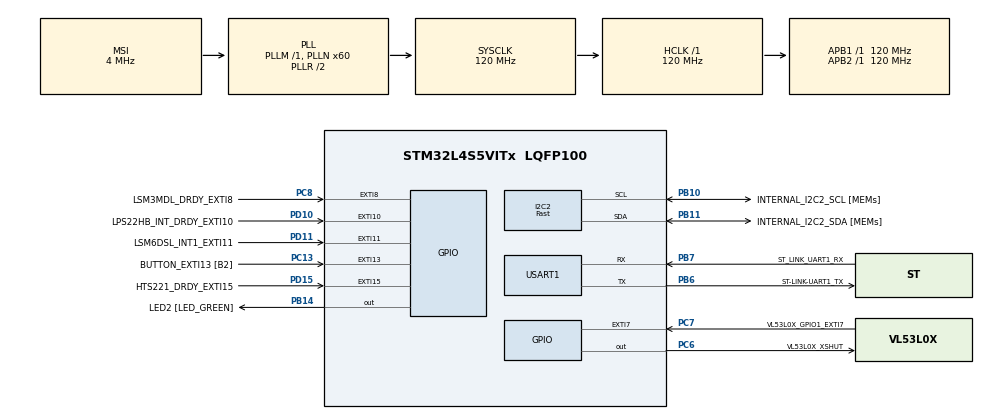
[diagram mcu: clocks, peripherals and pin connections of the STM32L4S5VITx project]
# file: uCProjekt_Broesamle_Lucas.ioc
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Dma.I2C2_RX.0.Direction=DMA_PERIPH_TO_MEMORY
Dma.I2C2_RX.0.EventEnable=DISABLE
Dma.I2C2_RX.0.Instance=DMA1_Channel1
Dma.I2C2_RX.0.MemDataAlignment=DMA_MDATAALIGN_BYTE
Dma.I2C2_RX.0.MemInc=DMA_MINC_ENABLE
Dma.I2C2_RX.0.Mode=DMA_NORMAL
Dma.I2C2_RX.0.PeriphDataAlignment=DMA_PDATAALIGN_BYTE
Dma.I2C2_RX.0.PeriphInc=DMA_PINC_DISABLE
Dma.I2C2_RX.0.Polarity=HAL_DMAMUX_REQUEST_GEN_RISING
Dma.I2C2_RX.0.Priority=DMA_PRIORITY_LOW
Dma.I2C2_RX.0.RequestNumber=1
Dma.I2C2_RX.0.SignalID=NONE
Dma.I2C2_RX.0.SyncEnable=DISABLE
Dma.I2C2_RX.0.SyncPolarity=HAL_DMAMUX_SYNC_NO_EVENT
Dma.I2C2_RX.0.SyncRequestNumber=1
Dma.I2C2_RX.0.SyncSignalID=NONE
Dma.I2C2_TX.1.Direction=DMA_MEMORY_TO_PERIPH
Dma.I2C2_TX.1.EventEnable=DISABLE
Dma.I2C2_TX.1.Instance=DMA1_Channel2
Dma.I2C2_TX.1.MemDataAlignment=DMA_MDATAALIGN_BYTE
Dma.I2C2_TX.1.MemInc=DMA_MINC_ENABLE
Dma.I2C2_TX.1.Mode=DMA_NORMAL
Dma.I2C2_TX.1.PeriphDataAlignment=DMA_PDATAALIGN_BYTE
Dma.I2C2_TX.1.PeriphInc=DMA_PINC_DISABLE
Dma.I2C2_TX.1.Polarity=HAL_DMAMUX_REQUEST_GEN_RISING
Dma.I2C2_TX.1.Priority=DMA_PRIORITY_LOW
Dma.I2C2_TX.1.RequestNumber=1
Dma.I2C2_TX.1.SignalID=NONE
Dma.I2C2_TX.1.SyncEnable=DISABLE
Dma.I2C2_TX.1.SyncPolarity=HAL_DMAMUX_SYNC_NO_EVENT
Dma.I2C2_TX.1.SyncRequestNumber=1
Dma.I2C2_TX.1.SyncSignalID=NONE
Dma.Request0=I2C2_RX
Dma.Request1=I2C2_TX
Dma.Request2=USART1_RX
Dma.Request3=USART1_TX
Dma.USART1_RX.2.Direction=DMA_PERIPH_TO_MEMORY
Dma.USART1_RX.2.EventEnable=DISABLE
Dma.USART1_RX.2.Instance=DMA1_Channel3
Dma.USART1_RX.2.MemDataAlignment=DMA_MDATAALIGN_BYTE
Dma.USART1_RX.2.MemInc=DMA_MINC_ENABLE
Dma.USART1_RX.2.Mode=DMA_NORMAL
Dma.USART1_RX.2.PeriphDataAlignment=DMA_PDATAALIGN_BYTE
Dma.USART1_RX.2.PeriphInc=DMA_PINC_DISABLE
Dma.USART1_RX.2.Polarity=HAL_DMAMUX_REQUEST_GEN_RISING
Dma.USART1_RX.2.Priority=DMA_PRIORITY_LOW
Dma.USART1_RX.2.RequestNumber=1
Dma.USART1_RX.2.SignalID=NONE
Dma.USART1_RX.2.SyncEnable=DISABLE
Dma.USART1_RX.2.SyncPolarity=HAL_DMAMUX_SYNC_NO_EVENT
Dma.USART1_RX.2.SyncRequestNumber=1
Dma.USART1_RX.2.SyncSignalID=NONE
Dma.USART1_TX.3.Direction=DMA_MEMORY_TO_PERIPH
Dma.USART1_TX.3.EventEnable=DISABLE
Dma.USART1_TX.3.Instance=DMA1_Channel4
Dma.USART1_TX.3.MemDataAlignment=DMA_MDATAALIGN_BYTE
Dma.USART1_TX.3.MemInc=DMA_MINC_ENABLE
Dma.USART1_TX.3.Mode=DMA_NORMAL
Dma.USART1_TX.3.PeriphDataAlignment=DMA_PDATAALIGN_BYTE
Dma.USART1_TX.3.PeriphInc=DMA_PINC_DISABLE
Dma.USART1_TX.3.Polarity=HAL_DMAMUX_REQUEST_GEN_RISING
Dma.USART1_TX.3.Priority=DMA_PRIORITY_LOW
Dma.USART1_TX.3.RequestNumber=1
Dma.USART1_TX.3.SignalID=NONE
Dma.USART1_TX.3.SyncEnable=DISABLE
Dma.USART1_TX.3.SyncPolarity=HAL_DMAMUX_SYNC_NO_EVENT
Dma.USART1_TX.3.SyncRequestNumber=1
Dma.USART1_TX.3.SyncSignalID=NONE
FREERTOS.BinarySemaphores01=I2C2available,Dynamic,NULL,Available;UART1available,Dynamic,NULL,Available
FREERTOS.Tasks01=defaultTask,24,128,StartDefaultTask,Default,NULL,Dynamic,NULL,NULL;IMUTask,33,256,IMU_Task,Default,NULL,Dynamic,NULL,NULL;MagnetoTask,34,256,Magneto_Task,Default,NULL,Dynamic,NULL,NULL;ToFTask,26,256,ToF_Task,Default,NULL,Dynamic,NULL,NULL;BaroTask,17,256,Baro_Task,Default,NULL,Dynamic,NULL,NULL;HumidityTask,17,256,Humidity_Task,Default,NULL,Dynamic,NULL,NULL;InitTask,40,512,Init_Task,Default,NULL,Dynamic,NULL,NULL;DataTransmitTas,9,256,Data_Transmit_Task,Default,NULL,Dynamic,NULL,NULL;DataFilterTask,10,256,Data_Filter_Task,Default,NULL,Dynamic,NULL,NULL
FREERTOS.configENABLE_FPU=1
FREERTOS.configGENERATE_RUN_TIME_STATS=1
FREERTOS.configTOTAL_HEAP_SIZE=30000
FREERTOS.configUSE_NEWLIB_REENTRANT=1
FREERTOS.configUSE_STATS_FORMATTING_FUNCTIONS=1
I2C2.I2C_Speed_Mode=I2C_Fast
I2C2.Timing=0x10B21F61
Mcu.Family=STM32L4
Mcu.Name=STM32L4S5VITx
Mcu.Package=LQFP100
NVIC.DMA1_Channel1_IRQn=true\:7\:0\:true\:false\:true\:true\:false\:true\:true
NVIC.DMA1_Channel2_IRQn=true\:8\:0\:true\:false\:true\:true\:false\:true\:true
NVIC.DMA1_Channel3_IRQn=true\:11\:0\:true\:false\:true\:true\:false\:true\:true
NVIC.DMA1_Channel4_IRQn=true\:11\:0\:true\:false\:true\:true\:false\:true\:true
NVIC.EXTI15_10_IRQn=true\:10\:0\:true\:false\:true\:true\:true\:true\:false
NVIC.EXTI9_5_IRQn=true\:10\:0\:true\:false\:true\:true\:true\:true\:false
NVIC.I2C2_EV_IRQn=true\:6\:0\:true\:false\:true\:true\:true\:true\:true
NVIC.PriorityGroup=NVIC_PRIORITYGROUP_4
NVIC.TIM1_TRG_COM_TIM17_IRQn=true\:15\:0\:false\:false\:true\:false\:false\:true\:true
NVIC.TimeBase=TIM1_TRG_COM_TIM17_IRQn
NVIC.TimeBaseIP=TIM17
NVIC.USART1_IRQn=true\:6\:0\:true\:false\:true\:true\:true\:true\:true
PA13\ (JTMS/SWDIO).GPIO_Label=SYS_JTMS_SWDIO
PA13\ (JTMS/SWDIO).Mode=Serial_Wire
PA13\ (JTMS/SWDIO).Signal=SYS_JTMS-SWDIO
PA14\ (JTCK/SWCLK).GPIO_Label=SYS_JTCK_SWCLK
PA14\ (JTCK/SWCLK).Mode=Serial_Wire
PA14\ (JTCK/SWCLK).Signal=SYS_JTCK-SWCLK
PB10.GPIO_Label=INTERNAL_I2C2_SCL [MEMs]
PB10.GPIO_Mode=GPIO_MODE_AF_OD
PB10.GPIO_Pu=GPIO_PULLUP
PB10.GPIO_Speed=GPIO_SPEED_FREQ_VERY_HIGH
PB10.Mode=I2C
PB10.Signal=I2C2_SCL
PB11.GPIO_Label=INTERNAL_I2C2_SDA [MEMs]
PB11.GPIO_Mode=GPIO_MODE_AF_OD
PB11.GPIO_Pu=GPIO_PULLUP
PB11.GPIO_Speed=GPIO_SPEED_FREQ_VERY_HIGH
PB11.Mode=I2C
PB11.Signal=I2C2_SDA
PB14.GPIO_Label=LED2 [LED_GREEN]
PB14.GPIO_ModeDefaultOutputPP=GPIO_MODE_OUTPUT_PP
PB14.GPIO_PuPd=GPIO_NOPULL
PB14.GPIO_Speed=GPIO_SPEED_FREQ_LOW
PB14.PinState=GPIO_PIN_RESET
PB14.Signal=GPIO_Output
PB3\ (JTDO/TRACESWO).GPIO_Label=SYS_JTD0_SWO
PB3\ (JTDO/TRACESWO).Signal=SYS_JTDO-SWO
PB6.GPIO_FM6=__NULL
PB6.GPIO_Label=ST-LINK-UART1_TX
PB6.GPIO_ModeDefaultPP=GPIO_MODE_AF_PP
PB6.GPIO_PuPd=GPIO_NOPULL
PB6.GPIO_Speed=GPIO_SPEED_FREQ_VERY_HIGH
PB6.Mode=Asynchronous
PB6.Signal=USART1_TX
PB7.GPIO_FM7=__NULL
PB7.GPIO_Label=ST_LINK_UART1_RX
PB7.GPIO_ModeDefaultPP=GPIO_MODE_AF_PP
PB7.GPIO_PuPd=GPIO_NOPULL
PB7.GPIO_Speed=GPIO_SPEED_FREQ_VERY_HIGH
PB7.Mode=Asynchronous
PB7.Signal=USART1_RX
PC13.GPIO_Label=BUTTON_EXTI13 [B2]
PC13.GPIO_ModeDefaultEXTI=GPIO_MODE_IT_RISING
PC13.GPIO_PuPd=GPIO_NOPULL
PC13.Signal=GPXTI13
PC14-OSC32_IN\ (PC14).Mode=LSE-External-Oscillator
PC14-OSC32_IN\ (PC14).Signal=RCC_OSC32_IN
PC15-OSC32_OUT\ (PC15).Mode=LSE-External-Oscillator
PC15-OSC32_OUT\ (PC15).Signal=RCC_OSC32_OUT
PC6.GPIO_Label=VL53L0X_XSHUT
PC6.GPIO_ModeDefaultOutputPP=GPIO_MODE_OUTPUT_PP
PC6.GPIO_PuPd=GPIO_NOPULL
PC6.GPIO_Speed=GPIO_SPEED_FREQ_LOW
PC6.PinState=GPIO_PIN_RESET
PC6.Signal=GPIO_Output
PC7.GPIO_Label=VL53L0X_GPIO1_EXTI7
PC7.GPIO_ModeDefaultEXTI=GPIO_MODE_IT_FALLING
PC7.GPIO_PuPd=GPIO_NOPULL
PC7.Signal=GPXTI7
PC8.GPIO_Label=LSM3MDL_DRDY_EXTI8
PC8.GPIO_ModeDefaultEXTI=GPIO_MODE_IT_RISING
PC8.GPIO_PuPd=GPIO_NOPULL
PC8.Signal=GPXTI8
PD10.GPIO_Label=LPS22HB_INT_DRDY_EXTI10
PD10.GPIO_ModeDefaultEXTI=GPIO_MODE_IT_RISING
PD10.GPIO_PuPd=GPIO_NOPULL
PD10.Signal=GPXTI10
PD11.GPIO_Label=LSM6DSL_INT1_EXTI11
PD11.GPIO_ModeDefaultEXTI=GPIO_MODE_IT_RISING
PD11.GPIO_PuPd=GPIO_NOPULL
PD11.Signal=GPXTI11
PD15.GPIO_Label=HTS221_DRDY_EXTI15
PD15.GPIO_ModeDefaultEXTI=GPIO_MODE_IT_RISING
PD15.GPIO_PuPd=GPIO_NOPULL
PD15.Signal=GPXTI15
PH0-OSC_IN\ (PH0).Mode=HSE-External-Oscillator
PH0-OSC_IN\ (PH0).Signal=RCC_OSC_IN
PH1-OSC_OUT\ (PH1).Mode=HSE-External-Oscillator
PH1-OSC_OUT\ (PH1).Signal=RCC_OSC_OUT
ProjectManager.HeapSize=0x200
ProjectManager.StackSize=0x400
ProjectManager.TargetToolchain=STM32CubeIDE
RCC.ADCFreq_Value=48000000
RCC.AHBFreq_Value=120000000
RCC.APB1Freq_Value=120000000
RCC.APB1TimFreq_Value=120000000
RCC.APB2Freq_Value=120000000
RCC.APB2TimFreq_Value=120000000
RCC.CortexFreq_Value=120000000
RCC.HCLKFreq_Value=120000000
RCC.HSE_VALUE=8000000
RCC.HSI48_VALUE=48000000
RCC.HSI_VALUE=16000000
RCC.MSI_VALUE=4000000
RCC.PLLN=60
RCC.PLLSAI1N=24
RCC.SYSCLKFreq_VALUE=120000000
RCC.SYSCLKSource=RCC_SYSCLKSOURCE_PLLCLK
RCC.USBFreq_Value=48000000
RCC.VCOOutputFreq_Value=240000000
USART1.VirtualMode-Asynchronous=VM_ASYNC
VP_FREERTOS_VS_CMSIS_V2.Mode=CMSIS_V2
VP_SYS_VS_tim17.Mode=TIM17
board=B-L4S5I-IOT01A

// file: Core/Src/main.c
/* USER CODE BEGIN Header */
/**
 ******************************************************************************
 * @file           : main.c
 * @brief          : Main program body
 ******************************************************************************
 * @attention
 *
 * Copyright (c) 2023 STMicroelectronics.
 * All rights reserved.
 *
 * This software is licensed under terms that can be found in the LICENSE file
 * in the root directory of this software component.
 * If no LICENSE file comes with this software, it is provided AS-IS.
 *
 ******************************************************************************
 */
/* USER CODE END Header */
#include "main.h"
#include "cmsis_os.h"

/* USER CODE BEGIN Includes */
#include <stdbool.h>
#include <stdio.h>
#include <string.h>
#include <math.h>

#include "../Sensors/AccelerationSensor/lsm6dsl.h"
#include "../Sensors/AirPressureSensor/lps22hb.h"
#include "../Sensors/HumiditySensor/hts221.h"
#include "../Sensors/MagnetometerSensor/lis3mdl.h"
#include "../Sensors/ToFSensor/vl53l0x.h"
#include "../Filter/filter.h"

/* USER CODE END Includes */

I2C_HandleTypeDef hi2c2;
DMA_HandleTypeDef hdma_i2c2_rx;
DMA_HandleTypeDef hdma_i2c2_tx;

UART_HandleTypeDef huart1;
DMA_HandleTypeDef hdma_usart1_rx;
DMA_HandleTypeDef hdma_usart1_tx;

/* Definitions for defaultTask */
osThreadId_t defaultTaskHandle;
const osThreadAttr_t defaultTask_attributes = {
  .name = "defaultTask",
  .stack_size = 128 * 4,
  .priority = (osPriority_t) osPriorityNormal,
};
/* Definitions for IMUTask */
osThreadId_t IMUTaskHandle;
const osThreadAttr_t IMUTask_attributes = {
  .name = "IMUTask",
  .stack_size = 256 * 4,
  .priority = (osPriority_t) osPriorityAboveNormal1,
};
/* Definitions for MagnetoTask */
osThreadId_t MagnetoTaskHandle;
const osThreadAttr_t MagnetoTask_attributes = {
  .name = "MagnetoTask",
  .stack_size = 256 * 4,
  .priority = (osPriority_t) osPriorityAboveNormal2,
};
/* Definitions for ToFTask */
osThreadId_t ToFTaskHandle;
const osThreadAttr_t ToFTask_attributes = {
  .name = "ToFTask",
  .stack_size = 256 * 4,
  .priority = (osPriority_t) osPriorityNormal2,
};
/* Definitions for BaroTask */
osThreadId_t BaroTaskHandle;
const osThreadAttr_t BaroTask_attributes = {
  .name = "BaroTask",
  .stack_size = 256 * 4,
  .priority = (osPriority_t) osPriorityBelowNormal1,
};
/* Definitions for HumidityTask */
osThreadId_t HumidityTaskHandle;
const osThreadAttr_t HumidityTask_attributes = {
  .name = "HumidityTask",
  .stack_size = 256 * 4,
  .priority = (osPriority_t) osPriorityBelowNormal1,
};
/* Definitions for InitTask */
osThreadId_t InitTaskHandle;
const osThreadAttr_t InitTask_attributes = {
  .name = "InitTask",
  .stack_size = 512 * 4,
  .priority = (osPriority_t) osPriorityHigh,
};
/* Definitions for DataTransmitTas */
osThreadId_t DataTransmitTasHandle;
const osThreadAttr_t DataTransmitTas_attributes = {
  .name = "DataTransmitTas",
  .stack_size = 256 * 4,
  .priority = (osPriority_t) osPriorityLow1,
};
/* Definitions for DataFilterTask */
osThreadId_t DataFilterTaskHandle;
const osThreadAttr_t DataFilterTask_attributes = {
  .name = "DataFilterTask",
  .stack_size = 256 * 4,
  .priority = (osPriority_t) osPriorityLow2,
};
/* Definitions for I2C2available */
osSemaphoreId_t I2C2availableHandle;
const osSemaphoreAttr_t I2C2available_attributes = {
  .name = "I2C2available"
};
/* Definitions for UART1available */
osSemaphoreId_t UART1availableHandle;
const osSemaphoreAttr_t UART1available_attributes = {
  .name = "UART1available"
};
/* USER CODE BEGIN PV */
uint8_t ucHeap[ configTOTAL_HEAP_SIZE ] __attribute__((section(".FreeRTOSHeap")));

uint32_t max_cycles_acc = 0;
uint32_t max_cycles_mag = 0;
float runtime_us_acc = 0.0f;
float runtime_us_mag = 0.0f;

TRANSMIT_DATA transmit_data ={.delimiter = 0xDEADBEEF};

extern LSM6DSL_VALUES lsm6dsl_values;
extern LIS3MDL_VALUES lis3mdl_values;
/* USER CODE END PV */

void SystemClock_Config(void);
static void MX_GPIO_Init(void);
static void MX_DMA_Init(void);
static void MX_I2C2_Init(void);
static void MX_USART1_UART_Init(void);
void StartDefaultTask(void *argument);
void IMU_Task(void *argument);
void Magneto_Task(void *argument);
void ToF_Task(void *argument);
void Baro_Task(void *argument);
void Humidity_Task(void *argument);
void Init_Task(void *argument);
void Data_Transmit_Task(void *argument);
void Data_Filter_Task(void *argument);

int main(void)
{

  /* MCU Configuration--------------------------------------------------------*/

  /* Reset of all peripherals, Initializes the Flash interface and the Systick. */
  HAL_Init();

  /* USER CODE BEGIN Init */
  CoreDebug->DEMCR |= CoreDebug_DEMCR_TRCENA_Msk;  // Debug Trace aktivieren
  DWT->CYCCNT = 0;                                 // Zähler zurücksetzen
  DWT->CTRL |= DWT_CTRL_CYCCNTENA_Msk;             // Zähler starten
  /* USER CODE END Init */

  /* Configure the system clock */
  SystemClock_Config();

  /* Initialize all configured peripherals */
  MX_GPIO_Init();
  MX_DMA_Init();
  MX_I2C2_Init();
  MX_USART1_UART_Init();

  /* Init scheduler */
  osKernelInitialize();

  /* Create the semaphores(s) */
  /* creation of I2C2available */
  I2C2availableHandle = osSemaphoreNew(1, 1, &I2C2available_attributes);

  /* creation of UART1available */
  UART1availableHandle = osSemaphoreNew(1, 1, &UART1available_attributes);

  /* Create the thread(s) */
  /* creation of defaultTask */
  defaultTaskHandle = osThreadNew(StartDefaultTask, NULL, &defaultTask_attributes);

  /* creation of IMUTask */
  IMUTaskHandle = osThreadNew(IMU_Task, NULL, &IMUTask_attributes);

  /* creation of MagnetoTask */
  MagnetoTaskHandle = osThreadNew(Magneto_Task, NULL, &MagnetoTask_attributes);

  /* creation of ToFTask */
  ToFTaskHandle = osThreadNew(ToF_Task, NULL, &ToFTask_attributes);

  /* creation of BaroTask */
  BaroTaskHandle = osThreadNew(Baro_Task, NULL, &BaroTask_attributes);

  /* creation of HumidityTask */
  HumidityTaskHandle = osThreadNew(Humidity_Task, NULL, &HumidityTask_attributes);

  /* creation of InitTask */
  InitTaskHandle = osThreadNew(Init_Task, NULL, &InitTask_attributes);

  /* creation of DataTransmitTas */
  DataTransmitTasHandle = osThreadNew(Data_Transmit_Task, NULL, &DataTransmitTas_attributes);

  /* creation of DataFilterTask */
  DataFilterTaskHandle = osThreadNew(Data_Filter_Task, NULL, &DataFilterTask_attributes);

  /* USER CODE BEGIN RTOS_THREADS */
  /* terminate the default Task because it just exists because of the STM23CubeIDE configuration set it mandatory - that is not needed because
   * a idle task is created by FreeRTOS anyway   */
  osThreadTerminate(defaultTaskHandle);
  /* USER CODE END RTOS_THREADS */

  /* USER CODE BEGIN RTOS_EVENTS */
  SEGGER_SYSVIEW_Conf();
  SEGGER_SYSVIEW_Start();
  SEGGER_SYSVIEW_PrintfHost("PROGRAMMSTART");
  /* USER CODE END RTOS_EVENTS */

  /* Start scheduler */
  osKernelStart();

  /* We should never get here as control is now taken by the scheduler */

  /* Infinite loop */
	  while (1)
	  {

	  }
}

void SystemClock_Config(void)
{
  RCC_OscInitTypeDef RCC_OscInitStruct = {0};
  RCC_ClkInitTypeDef RCC_ClkInitStruct = {0};

  /** Configure the main internal regulator output voltage
  */
  if (HAL_PWREx_ControlVoltageScaling(PWR_REGULATOR_VOLTAGE_SCALE1_BOOST) != HAL_OK)
  {
    Error_Handler();
  }

  /** Initializes the RCC Oscillators according to the specified parameters
  * in the RCC_OscInitTypeDef structure.
  */
  RCC_OscInitStruct.OscillatorType = RCC_OSCILLATORTYPE_MSI;
  RCC_OscInitStruct.MSIState = RCC_MSI_ON;
  RCC_OscInitStruct.MSICalibrationValue = 0;
  RCC_OscInitStruct.MSIClockRange = RCC_MSIRANGE_6;
  RCC_OscInitStruct.PLL.PLLState = RCC_PLL_ON;
  RCC_OscInitStruct.PLL.PLLSource = RCC_PLLSOURCE_MSI;
  RCC_OscInitStruct.PLL.PLLM = 1;
  RCC_OscInitStruct.PLL.PLLN = 60;
  RCC_OscInitStruct.PLL.PLLP = RCC_PLLP_DIV2;
  RCC_OscInitStruct.PLL.PLLQ = RCC_PLLQ_DIV2;
  RCC_OscInitStruct.PLL.PLLR = RCC_PLLR_DIV2;
  if (HAL_RCC_OscConfig(&RCC_OscInitStruct) != HAL_OK)
  {
    Error_Handler();
  }

  /** Initializes the CPU, AHB and APB buses clocks
  */
  RCC_ClkInitStruct.ClockType = RCC_CLOCKTYPE_HCLK|RCC_CLOCKTYPE_SYSCLK
                              |RCC_CLOCKTYPE_PCLK1|RCC_CLOCKTYPE_PCLK2;
  RCC_ClkInitStruct.SYSCLKSource = RCC_SYSCLKSOURCE_PLLCLK;
  RCC_ClkInitStruct.AHBCLKDivider = RCC_SYSCLK_DIV1;
  RCC_ClkInitStruct.APB1CLKDivider = RCC_HCLK_DIV1;
  RCC_ClkInitStruct.APB2CLKDivider = RCC_HCLK_DIV1;

  if (HAL_RCC_ClockConfig(&RCC_ClkInitStruct, FLASH_LATENCY_5) != HAL_OK)
  {
    Error_Handler();
  }
}

static void MX_I2C2_Init(void)
{

  hi2c2.Instance = I2C2;
  hi2c2.Init.Timing = 0x10B21F61;
  hi2c2.Init.OwnAddress1 = 0;
  hi2c2.Init.AddressingMode = I2C_ADDRESSINGMODE_7BIT;
  hi2c2.Init.DualAddressMode = I2C_DUALADDRESS_DISABLE;
  hi2c2.Init.OwnAddress2 = 0;
  hi2c2.Init.OwnAddress2Masks = I2C_OA2_NOMASK;
  hi2c2.Init.GeneralCallMode = I2C_GENERALCALL_DISABLE;
  hi2c2.Init.NoStretchMode = I2C_NOSTRETCH_DISABLE;
  if (HAL_I2C_Init(&hi2c2) != HAL_OK)
  {
    Error_Handler();
  }

  /** Configure Analogue filter
  */
  if (HAL_I2CEx_ConfigAnalogFilter(&hi2c2, I2C_ANALOGFILTER_ENABLE) != HAL_OK)
  {
    Error_Handler();
  }

  /** Configure Digital filter
  */
  if (HAL_I2CEx_ConfigDigitalFilter(&hi2c2, 0) != HAL_OK)
  {
    Error_Handler();
  }

}

static void MX_USART1_UART_Init(void)
{

  huart1.Instance = USART1;
  huart1.Init.BaudRate = 115200;
  huart1.Init.WordLength = UART_WORDLENGTH_8B;
  huart1.Init.StopBits = UART_STOPBITS_1;
  huart1.Init.Parity = UART_PARITY_NONE;
  huart1.Init.Mode = UART_MODE_TX_RX;
  huart1.Init.HwFlowCtl = UART_HWCONTROL_NONE;
  huart1.Init.OverSampling = UART_OVERSAMPLING_16;
  huart1.Init.OneBitSampling = UART_ONE_BIT_SAMPLE_DISABLE;
  huart1.Init.ClockPrescaler = UART_PRESCALER_DIV1;
  huart1.AdvancedInit.AdvFeatureInit = UART_ADVFEATURE_NO_INIT;
  if (HAL_UART_Init(&huart1) != HAL_OK)
  {
    Error_Handler();
  }
  if (HAL_UARTEx_SetTxFifoThreshold(&huart1, UART_TXFIFO_THRESHOLD_1_8) != HAL_OK)
  {
    Error_Handler();
  }
  if (HAL_UARTEx_SetRxFifoThreshold(&huart1, UART_RXFIFO_THRESHOLD_1_8) != HAL_OK)
  {
    Error_Handler();
  }
  if (HAL_UARTEx_DisableFifoMode(&huart1) != HAL_OK)
  {
    Error_Handler();
  }

}

static void MX_DMA_Init(void)
{

  /* DMA controller clock enable */
  __HAL_RCC_DMAMUX1_CLK_ENABLE();
  __HAL_RCC_DMA1_CLK_ENABLE();

  /* DMA interrupt init */
  /* DMA1_Channel1_IRQn interrupt configuration */
  HAL_NVIC_SetPriority(DMA1_Channel1_IRQn, 7, 0);
  HAL_NVIC_EnableIRQ(DMA1_Channel1_IRQn);
  /* DMA1_Channel2_IRQn interrupt configuration */
  HAL_NVIC_SetPriority(DMA1_Channel2_IRQn, 8, 0);
  HAL_NVIC_EnableIRQ(DMA1_Channel2_IRQn);
  /* DMA1_Channel3_IRQn interrupt configuration */
  HAL_NVIC_SetPriority(DMA1_Channel3_IRQn, 11, 0);
  HAL_NVIC_EnableIRQ(DMA1_Channel3_IRQn);
  /* DMA1_Channel4_IRQn interrupt configuration */
  HAL_NVIC_SetPriority(DMA1_Channel4_IRQn, 11, 0);
  HAL_NVIC_EnableIRQ(DMA1_Channel4_IRQn);

}

static void MX_GPIO_Init(void)
{
  GPIO_InitTypeDef GPIO_InitStruct = {0};

  /* GPIO Ports Clock Enable */
  __HAL_RCC_GPIOC_CLK_ENABLE();
  __HAL_RCC_GPIOH_CLK_ENABLE();
  __HAL_RCC_GPIOB_CLK_ENABLE();
  __HAL_RCC_GPIOD_CLK_ENABLE();
  __HAL_RCC_GPIOA_CLK_ENABLE();

  /*Configure GPIO pin Output Level */
  HAL_GPIO_WritePin(LED2_GPIO_Port, LED2_Pin, GPIO_PIN_RESET);

  /*Configure GPIO pin Output Level */
  HAL_GPIO_WritePin(VL53L0X_XSHUT_GPIO_Port, VL53L0X_XSHUT_Pin, GPIO_PIN_RESET);

  /*Configure GPIO pins : BUTTON_EXTI13_Pin LSM3MDL_DRDY_EXTI8_Pin */
  GPIO_InitStruct.Pin = BUTTON_EXTI13_Pin|LSM3MDL_DRDY_EXTI8_Pin;
  GPIO_InitStruct.Mode = GPIO_MODE_IT_RISING;
  GPIO_InitStruct.Pull = GPIO_NOPULL;
  HAL_GPIO_Init(GPIOC, &GPIO_InitStruct);

  /*Configure GPIO pin : LED2_Pin */
  GPIO_InitStruct.Pin = LED2_Pin;
  GPIO_InitStruct.Mode = GPIO_MODE_OUTPUT_PP;
  GPIO_InitStruct.Pull = GPIO_NOPULL;
  GPIO_InitStruct.Speed = GPIO_SPEED_FREQ_LOW;
  HAL_GPIO_Init(LED2_GPIO_Port, &GPIO_InitStruct);

  /*Configure GPIO pins : LPS22HB_INT_DRDY_EXTI10_Pin LSM6DSL_INT1_EXTI11_Pin HTS221_DRDY_EXTI15_Pin */
  GPIO_InitStruct.Pin = LPS22HB_INT_DRDY_EXTI10_Pin|LSM6DSL_INT1_EXTI11_Pin|HTS221_DRDY_EXTI15_Pin;
  GPIO_InitStruct.Mode = GPIO_MODE_IT_RISING;
  GPIO_InitStruct.Pull = GPIO_NOPULL;
  HAL_GPIO_Init(GPIOD, &GPIO_InitStruct);

  /*Configure GPIO pin : VL53L0X_XSHUT_Pin */
  GPIO_InitStruct.Pin = VL53L0X_XSHUT_Pin;
  GPIO_InitStruct.Mode = GPIO_MODE_OUTPUT_PP;
  GPIO_InitStruct.Pull = GPIO_NOPULL;
  GPIO_InitStruct.Speed = GPIO_SPEED_FREQ_LOW;
  HAL_GPIO_Init(VL53L0X_XSHUT_GPIO_Port, &GPIO_InitStruct);

  /*Configure GPIO pin : VL53L0X_GPIO1_EXTI7_Pin */
  GPIO_InitStruct.Pin = VL53L0X_GPIO1_EXTI7_Pin;
  GPIO_InitStruct.Mode = GPIO_MODE_IT_FALLING;
  GPIO_InitStruct.Pull = GPIO_NOPULL;
  HAL_GPIO_Init(VL53L0X_GPIO1_EXTI7_GPIO_Port, &GPIO_InitStruct);

  /* EXTI interrupt init*/
  HAL_NVIC_SetPriority(EXTI9_5_IRQn, 10, 0);
  HAL_NVIC_SetPriority(EXTI15_10_IRQn, 10, 0);

}

void StartDefaultTask(void *argument)
{
  for(;;)
  {
    osDelay(1);
  }
}

void IMU_Task(void *argument)
{
  /* USER CODE BEGIN IMU_Task */
  HAL_StatusTypeDef HAL_status;
  /* Infinite loop */
  for(;;)
  {
	// Auf Aktivierungsflag warten
	osThreadFlagsWait(IMU_SENSOR_THREAD_ACTIVATE_FLAG, osFlagsWaitAll, osWaitForever);

	// I2C-Bus sichern
	osSemaphoreAcquire(I2C2availableHandle, osWaitForever);

	// Prüfen, ob neue IMU-Daten vorliegen
	HAL_status = LSM6DSL_data_ready();
	osSemaphoreRelease(I2C2availableHandle);

	if (HAL_status == HAL_OK)
	{
		osThreadFlagsSet(DataFilterTaskHandle,
						 RAW_IMU_DATA_READY_FLAG);
	}
  }
  /* USER CODE END IMU_Task */
}

void Magneto_Task(void *argument)
{
  /* USER CODE BEGIN Magneto_Task */
  HAL_StatusTypeDef HAL_status;
  /* Infinite loop */
  for(;;)
  {
	// Auf Aktivierungsflag warten
	osThreadFlagsWait(MAG_SENSOR_THREAD_ACTIVATE_FLAG, osFlagsWaitAll, osWaitForever);

	// I2C-Bus sichern
	osSemaphoreAcquire(I2C2availableHandle, osWaitForever);

	// Prüfen, ob neue Magnetometer-Daten vorliegen
	HAL_status = LIS3MDL_data_ready();
	osSemaphoreRelease(I2C2availableHandle);

	if (HAL_status == HAL_OK)
	{
		osThreadFlagsSet(DataFilterTaskHandle,
		RAW_MAG_DATA_READY_FLAG);
	}
  }
  /* USER CODE END Magneto_Task */
}

void ToF_Task(void *argument)
{
  /* USER CODE BEGIN ToF_Task */
  HAL_StatusTypeDef HAL_status;
  /* Infinite loop */
  for(;;)
  {
	// Auf Aktivierungsflag warten
	osThreadFlagsWait(TOF_SENSOR_THREAD_ACTIVATE_FLAG, osFlagsWaitAll, osWaitForever);

	// I2C-Bus sichern
	osSemaphoreAcquire(I2C2availableHandle, osWaitForever);

	// Prüfen, ob neue Magnetometer-Daten vorliegen
	HAL_status = VL53L0X_data_ready();
	osSemaphoreRelease(I2C2availableHandle);

	(void)HAL_status;
  }
  /* USER CODE END ToF_Task */
}

void Baro_Task(void *argument)
{
  /* USER CODE BEGIN Baro_Task */
  HAL_StatusTypeDef HAL_status;
  /* Infinite loop */
  for(;;)
  {
	// Auf Aktivierungsflag warten
	osThreadFlagsWait(BARO_SENSOR_THREAD_ACTIVATE_FLAG, osFlagsWaitAll, osWaitForever);

	// I2C-Bus sichern
	osSemaphoreAcquire(I2C2availableHandle, osWaitForever);

	// Prüfen, ob neue Magnetometer-Daten vorliegen
	HAL_status = LPS22HB_data_ready();
	osSemaphoreRelease(I2C2availableHandle);

	(void)HAL_status;
  }
  /* USER CODE END Baro_Task */
}

void Humidity_Task(void *argument)
{
  /* USER CODE BEGIN Humidity_Task */
  HAL_StatusTypeDef HAL_status;
  /* Infinite loop */
  for(;;)
  {
	// Auf Aktivierungsflag warten
	osThreadFlagsWait(HUMIDITY_SENSOR_THREAD_ACTIVATE_FLAG, osFlagsWaitAll, osWaitForever);

	// I2C-Bus sichern
	osSemaphoreAcquire(I2C2availableHandle, osWaitForever);
	// Prüfen, ob neue Magnetometer-Daten vorliegen
	HAL_status = HTS221_data_ready();
	osSemaphoreRelease(I2C2availableHandle);

	(void)HAL_status;
  }
  /* USER CODE END Humidity_Task */
}

void Init_Task(void *argument)
{
  /* USER CODE BEGIN Init_Task */
  vl53l0x_initialize(); /* ToF */
  HTS221_initialize();  /* Humidity */
  LPS22HB_initialize(); /* Barometer */
  LSM6DSL_initialize(); /* IMU */
  LIS3MDL_initialize(); /* Magnetometer */

  /* initialisation mainly done -> clear interrupts in case they already are active and enable them */
  HAL_NVIC_ClearPendingIRQ(EXTI15_10_IRQn);
  HAL_NVIC_ClearPendingIRQ(EXTI9_5_IRQn);
  HAL_NVIC_EnableIRQ(EXTI9_5_IRQn);
  HAL_NVIC_EnableIRQ(EXTI15_10_IRQn);

  /* Initialise Filter */
  LSM6DSL_Filter_Init();
  LIS3MDL_Filter_Init();

  /* initialisation finally done --> terminate this task */
  osThreadTerminate(InitTaskHandle);

  /* USER CODE END Init_Task */
}

void Data_Transmit_Task(void *argument)
{
  /* USER CODE BEGIN Data_Transmit_Task */
  /* Infinite loop */
  for(;;)
      {
		osThreadFlagsWait(FILTERED_DATA_READY_FLAG, osFlagsWaitAny, osWaitForever);
		SEGGER_SYSVIEW_PrintfHost("Datenuebertragung");

		// UART-Semaphore sichern
		osSemaphoreAcquire(UART1availableHandle, osWaitForever);

		// Rohdaten kopieren (IMU + Magnetometer)
		memcpy(&transmit_data.acc_x, &lsm6dsl_values.acc_x, 6 * sizeof(float));  // acc + gyro
		memcpy(&transmit_data.mag_x, &lis3mdl_values.x, 3 * sizeof(float));

		// Gefilterte Werte kopieren
		memcpy(&transmit_data.acc_x_filtered, &lsm6dsl_filtered_values.acc_x, 6 * sizeof(float));
		memcpy(&transmit_data.mag_x_filtered, &lis3mdl_filtered_values.x, 3 * sizeof(float));

		// Daten per DMA senden
		HAL_UART_Transmit_DMA(&huart1, (const uint8_t *)&transmit_data, sizeof(transmit_data));

		// Halb-Transmit Interrupt deaktivieren (nicht benötigt)
		__HAL_DMA_DISABLE_IT(huart1.hdmatx, DMA_IT_HT);
	  }
  /* USER CODE END Data_Transmit_Task */
}

void Data_Filter_Task(void *argument)
{
  /* USER CODE BEGIN Data_Filter_Task */
  uint32_t start, stop;

  for (;;)
  {
    uint32_t flags = osThreadFlagsWait(RAW_IMU_DATA_READY_FLAG | RAW_MAG_DATA_READY_FLAG, osFlagsWaitAny, osWaitForever);

    if (flags & RAW_IMU_DATA_READY_FLAG)
    {
      __disable_irq();              // Interrupts kurz deaktivieren
      start = DWT->CYCCNT;

      LSM6DSL_Filter_Update(lsm6dsl_values);

      stop = DWT->CYCCNT;
      __enable_irq();

      uint32_t cycles = stop - start;
      if(cycles > max_cycles_acc) max_cycles_acc = cycles;

      // Laufzeit in µs berechnen
      runtime_us_acc = (float)cycles / SystemCoreClock * 1e6;

      // Laufzeit auf 2 Nachkommastellen in Integer umrechnen
      uint32_t runtime_us_acc_int = (uint32_t)(runtime_us_acc * 100.0f);

      // Ausgabe an SEGGER SYSVIEW (ASCII-kompatibel, 2 Nachkommastellen)
      SEGGER_SYSVIEW_PrintfHost("LSM6DSL-Filterlaufzeit: %lu CPU-Zyklen (%lu.%02lu us)", cycles, runtime_us_acc_int / 100, runtime_us_acc_int % 100);
    }

    if (flags & RAW_MAG_DATA_READY_FLAG)
    {
      __disable_irq();
      start = DWT->CYCCNT;

      LIS3MDL_Filter_Update(lis3mdl_values);

      stop = DWT->CYCCNT;
      __enable_irq();

      uint32_t cycles = stop - start;
      if(cycles > max_cycles_mag) max_cycles_mag = cycles;

      // Laufzeit in µs berechnen
      runtime_us_mag = (float)cycles / SystemCoreClock * 1e6;

      // Laufzeit auf 2 Nachkommastellen in Integer umrechnen
      uint32_t runtime_us_mag_int = (uint32_t)(runtime_us_mag * 100.0f);

      // Ausgabe an SEGGER SYSVIEW (ASCII-kompatibel, 2 Nachkommastellen)
      SEGGER_SYSVIEW_PrintfHost("LIS3MDL-Filterlaufzeit: %lu CPU-Zyklen (%lu.%02lu us)", cycles, runtime_us_mag_int / 100, runtime_us_mag_int % 100);
    }
    osThreadFlagsSet(DataTransmitTasHandle, FILTERED_DATA_READY_FLAG);
  }
  /* USER CODE END Data_Filter_Task */
}

void HAL_TIM_PeriodElapsedCallback(TIM_HandleTypeDef *htim)
{
  if (htim->Instance == TIM17)
  {
    HAL_IncTick();
  }
}

void Error_Handler(void)
{
  /* USER CODE BEGIN Error_Handler_Debug */
  /* User can add his own implementation to report the HAL error return state
   */
  __disable_irq();
  while (1) {
  }
  /* USER CODE END Error_Handler_Debug */
}
#ifdef USE_FULL_ASSERT
/**
  * @brief  Reports the name of the source file and the source line number
  *         where the assert_param error has occurred.
  * @param  file: pointer to the source file name
  * @param  line: assert_param error line source number
  * @retval None
  */
void assert_failed(uint8_t *file, uint32_t line)
{
  /* USER CODE BEGIN 6 */
  /* User can add his own implementation to report the file name and line
     number,
     ex: printf("Wrong parameters value: file %s on line %d\r\n", file, line)
   */
  /* USER CODE END 6 */
}
#endif /* USE_FULL_ASSERT */
